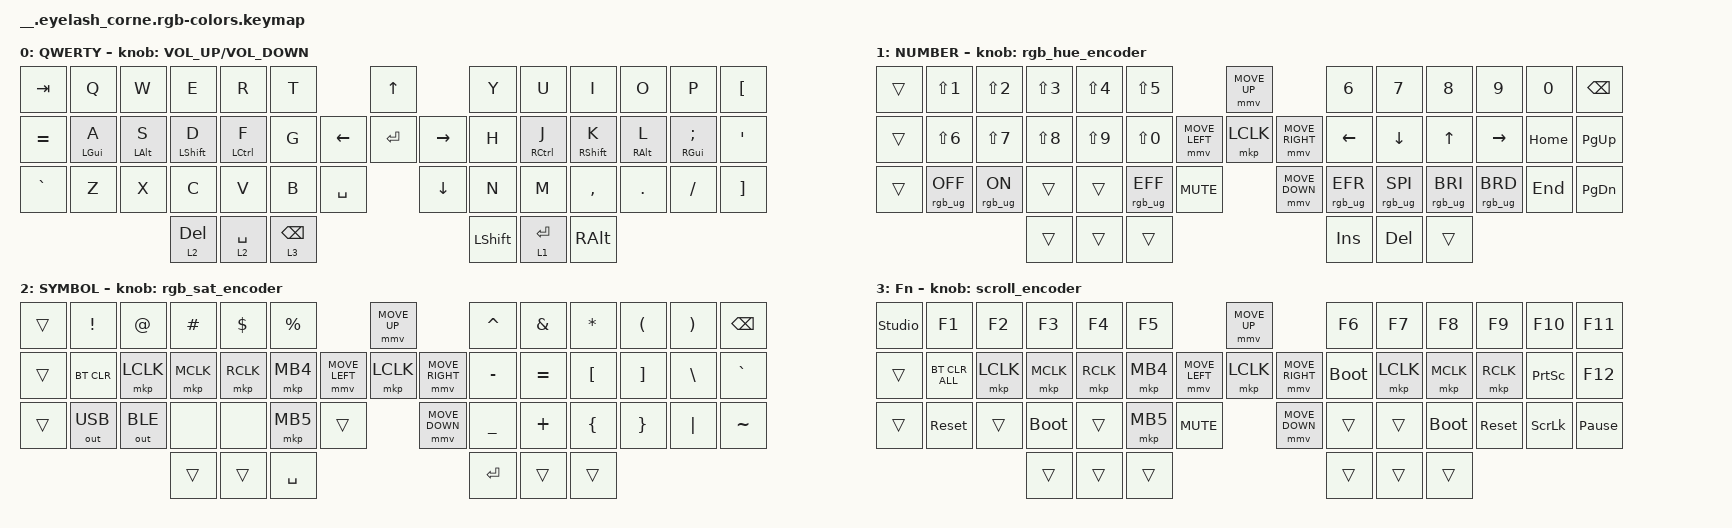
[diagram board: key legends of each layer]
#include <dt-bindings/zmk/mouse.h>
#include <input/processors.dtsi>
#include <behaviors.dtsi>
#include <dt-bindings/zmk/bt.h>
#include <dt-bindings/zmk/keys.h>
#include <dt-bindings/zmk/outputs.h>
#include <dt-bindings/zmk/pointing.h>
/* #include <dt-bindings/zmk/pointing.h> */
/* #include <dt-bindings/zmk/pointing.h> */

#include <dt-bindings/zmk/rgb.h>
#include <dt-bindings/zmk/rgb_colors.h>

/*

   &mmv_input_listener {
       input-processors = <&zip_xy_scaler 2 1>;
   };

   &msc_input_listener {
       input-processors = <&zip_xy_scaler 2 1>;
   };

 */

/*
    0   1   2   3   4   5        6       7   8   9  10  11 12
    13  14  15 16  17  18    19  20  21  22  23  24 25  26 27
    28  29  30 31  32  33  34    35      36  37  38  39 40 41
               42  43  44                45 46 47
*/

#define RM0 22
#define RM1 23
#define RM2 24
#define RM3 25
#define LT5 0
#define LM4 14
#define RT5 12
#define RM4 26


#define KEYS_L                                                                 \
  0 1 2 3 4 5 13 14 15 16 17 18 28 29 30 31 32 33  // left hand
#define KEYS_R                                                                 \
  7 8 9 10 11 12 22 23 24 25 26 27 36 37 38 39 40 41 // right hand

#define LH0 42
#define LH1 43
#define LH2 44
#define RH0 47
#define RH1 46
#define RH2 45
#define COMBO_CAPS_1 LH2
#define COMBO_CAPS_2 RH2
#define THUMBS 42 43 44 45 46 47 // thumbs on 36+ keys

#define ZMK_MOUSE_DEFAULT_MOVE_VAL 1200  // 600
#define ZMK_MOUSE_DEFAULT_SCRL_VAL 20    // 10
#define QUICK_TAP_MS 200
#define TAPPING_TERM_MS 200
#define IDLE_MS 125

// Layers "alias"
#define L_QWT 0
#define L_NUM 1
#define L_SYM 2
#define L_NAV 3
#define L_MED 4
// L_FUN (F1, …)

// Hyper functions
#define LEFT_HYPER LS(LA(LC(LGUI)))
#define RIGHT_HYPER RS(RA(RC(RGUI)))
#define LH(keycode)            LS(LA(LC(LG(keycode))))
#define RH(keycode)            RS(RA(RC(RG(keycode))))

// Bépo key
#define BP1 LS(N1)
#define BP2 LS(N2)
#define BP3 LS(N3)
#define BP4 LS(N4)
#define BP5 LS(N5)
#define BP6 LS(N6)
#define BP7 LS(N7)
#define BP8 LS(N8)
#define BP9 LS(N9)
#define BP0 LS(N0)

&led_strip {
  chain-length = <21>;
};

/ {
    underglow-layer {
    compatible = "zmk,underglow-layer";
    default_layer {
      bindings = <
&ug ___     &ug PURPLE           &ug ___           &ug ___             &ug ___        &ug ___                               &ug ___                &ug ORANGE        &ug ___        &ug ___              &ug ___            &ug ___       &ug ___
&ug ___ &ug ___  &ug ___  &ug ___  &ug ___  &ug ___                     &ug ___  &ug ___  &ug ___  &ug ___        &ug ___  &ug ___  &ug ___  &ug ___  &ug ___
	      &ug RED   &ug GREEN           &ug ___           &ug WHITE             &ug ___        &ug ___        &ug ___              &ug ___              &ug ___        &ug ___        &ug ___          &ug ___          &ug ___                 &ug ___
                                            &ug BLUE          &ug BLUE        &ug BLUE                                               &ug BLUE  &ug BLUE        &ug BLUE
            >;
      layer-id = <L_QWT>;
    };
  };
};

/ {
    behaviors {
        td0: td0 {
            compatible = "zmk,behavior-tap-dance";
            display-name = "Shift/Caps Lock Tap Dance";
            #binding-cells = <0>;
            bindings = <&kp LEFT_SHIFT>, <&kp CAPS>;
        };
        hml: homerow_mods_left {
            compatible = "zmk,behavior-hold-tap";
            flavor = "balanced";
            tapping-term-ms = <TAPPING_TERM_MS>;
            quick-tap-ms = <QUICK_TAP_MS>;
            require-prior-idle-ms = <IDLE_MS>;
            bindings = <&kp>, <&kp>;
            #binding-cells = <2>; 
            hold-trigger-key-positions = <KEYS_R THUMBS>;
        };

        hmr: homerow_mods_right {
            compatible = "zmk,behavior-hold-tap";
            flavor = "balanced";
            tapping-term-ms = <TAPPING_TERM_MS>;
            quick-tap-ms = <QUICK_TAP_MS>;
            require-prior-idle-ms = <IDLE_MS>;
            bindings = <&kp>, <&kp>;
            #binding-cells = <2>; 
            hold-trigger-key-positions = <KEYS_L THUMBS>;
        };
        hm: homerow_mods {
            compatible = "zmk,behavior-hold-tap";
            #binding-cells = <2>;
            tapping-term-ms = <TAPPING_TERM_MS>;
            quick-tap-ms = <QUICK_TAP_MS>;
            flavor = "balanced";
            bindings = <&kp>, <&kp>;
        };
    };

    rgb_bri_encoder: rgb_bri_encoder {
        compatible = "zmk,behavior-sensor-rotate";
        #sensor-binding-cells = <0>;
        bindings = <&rgb_ug RGB_BRI>, <&rgb_ug RGB_BRD>;
    };
    rgb_hue_encoder: rgb_hue_encoder {
        compatible = "zmk,behavior-sensor-rotate";
        #sensor-binding-cells = <0>;
        bindings = <&rgb_ug RGB_HUI>, <&rgb_ug RGB_HUD>;
    };
    rgb_sat_encoder: rgb_sat_encoder {
        compatible = "zmk,behavior-sensor-rotate";
        #sensor-binding-cells = <0>;
        bindings = <&rgb_ug RGB_SAI>, <&rgb_ug RGB_SAD>;
    };

    scroll_encoder: scroll_encoder {
        compatible = "zmk,behavior-sensor-rotate";
        #sensor-binding-cells = <0>;
        bindings = <&msc SCRL_DOWN>, <&msc SCRL_UP>;

        tap-ms = <30>;
    };


    keymap {
        compatible = "zmk,keymap";

        default_layer {
            display-name = "QWERTY";
            bindings = <
&kp TAB     &kp Q           &kp W           &kp E             &kp R        &kp T                               &kp UP                &kp Y        &kp U        &kp I              &kp O            &kp P       &kp LBKT
&kp EQUAL &hml LEFT_GUI A  &hml LEFT_ALT S  &hml LEFT_SHIFT D  &hml LCTRL F  &kp G                     &kp LEFT  &kp ENTER  &kp RIGHT  &kp H        &hmr RCTRL J  &hmr RIGHT_SHIFT K  &hmr RIGHT_ALT L  &hmr RIGHT_GUI SEMICOLON  &kp SQT
	      &kp GRAVE   &kp Z           &kp X           &kp C             &kp V        &kp B        &kp SPACE              &kp DOWN              &kp N        &kp M        &kp COMMA          &kp DOT          &kp FSLH                 &kp RBKT
                                            &lt 2 DEL          &lt 2 SPACE        &lt 3 BSPC                                               &kp LEFT_SHIFT  &lt 1 ENTER        &kp RIGHT_ALT
            >;

            sensor-bindings = <&inc_dec_kp C_VOLUME_UP C_VOLUME_DOWN>;
        };

        lower_layer {
            display-name = "NUMBER";
            bindings = <
	      &trans  &kp BP1           &kp BP2          &kp BP3        &kp BP4        &kp BP5                                         &mmv MOVE_UP                     &kp N6           &kp N7           &kp N8           &kp N9           &kp N0    &kp BSPC
	      &trans  &kp BP6   &kp BP7    &kp BP8  &kp BP9  &kp BP0                   &mmv MOVE_LEFT  &mkp LCLK       &mmv MOVE_RIGHT  &kp LEFT         &kp DOWN         &kp UP           &kp RIGHT        &kp HOME  &kp PG_UP
&trans  &rgb_ug RGB_OFF  &rgb_ug RGB_ON  &trans        &trans        &rgb_ug RGB_EFF  &kp C_MUTE                    &mmv MOVE_DOWN                   &rgb_ug RGB_EFR  &rgb_ug RGB_SPI  &rgb_ug RGB_BRI  &rgb_ug RGB_BRD  &kp END   &kp PG_DN
                                         &trans        &trans        &trans                                                                          &kp INS          &kp DEL          &trans
            >;

            sensor-bindings = <&rgb_hue_encoder>;
        };

        raise_layer {
            display-name = "SYMBOL";
            bindings = <
&trans  &kp EXCL      &kp AT        &kp HASH   &kp DLLR   &kp PRCNT                            &mmv MOVE_UP                     &kp CARET  &kp AMPS   &kp ASTRK  &kp LPAR  &kp RPAR  &kp BSPC
&trans  &bt BT_CLR    &mkp LCLK     &mkp MCLK  &mkp RCLK  &mkp MB4             &mmv MOVE_LEFT  &mkp LCLK       &mmv MOVE_RIGHT  &kp MINUS  &kp EQUAL  &kp LBKT   &kp RBKT  &kp BSLH  &kp GRAVE
&trans  &out OUT_USB  &out OUT_BLE  &none      &none      &mkp MB5   &trans                    &mmv MOVE_DOWN                   &kp UNDER  &kp PLUS   &kp LBRC   &kp RBRC  &kp PIPE  &kp TILDE
                                    &trans     &trans     &kp SPACE                                                             &kp RET    &trans     &trans
            >;

            sensor-bindings = <&rgb_sat_encoder>;
        };

        layer_3 {
            display-name = "Fn";
            bindings = <
&studio_unlock  &kp F1      &kp F2     &kp F3       &kp F4     &kp F5                                  &mmv MOVE_UP                     &kp F6       &kp F7     &kp F8       &kp F9      &kp F10          &kp F11
&trans          &bt BT_CLR_ALL      &mkp LCLK  &mkp MCLK    &mkp RCLK  &mkp MB4                &mmv MOVE_LEFT  &mkp LCLK       &mmv MOVE_RIGHT  &bootloader  &mkp LCLK  &mkp MCLK    &mkp RCLK   &kp PRINTSCREEN  &kp F12
&trans          &sys_reset  &trans     &bootloader  &trans     &mkp MB5  &kp C_MUTE                    &mmv MOVE_DOWN                   &trans       &trans     &bootloader  &sys_reset  &kp SCROLLLOCK   &kp PAUSE_BREAK
                                       &trans       &trans     &trans                                                                   &trans       &trans     &trans
            >;

            sensor-bindings = <&scroll_encoder>;
        };
    };
};

// 	      &trans  &kb BP6   &bt BT_SEL 0    &bt BT_SEL 1  &bt BT_SEL 2  &bt BT_SEL 3                   &mmv MOVE_LEFT  &mkp LCLK       &mmv MOVE_RIGHT  &kp LEFT         &kp DOWN         &kp UP           &kp RIGHT        &kp HOME  &kp PG_UP
